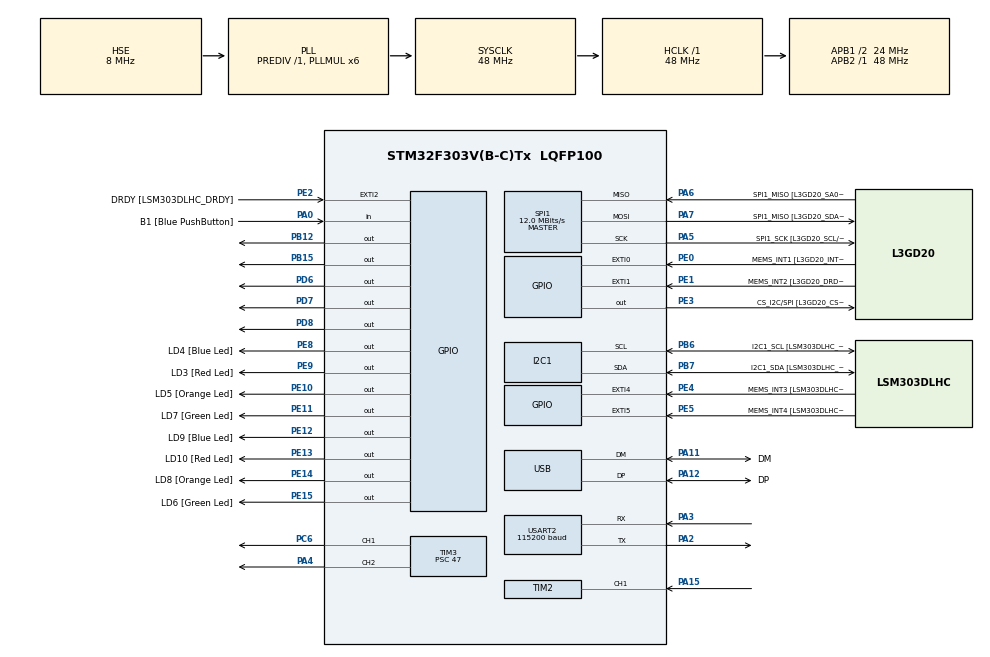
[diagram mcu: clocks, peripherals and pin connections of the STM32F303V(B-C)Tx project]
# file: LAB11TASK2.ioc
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I2C1.Timing=0x00201D2B
I2C1.Timing-I2C=0x2000090E
Mcu.Family=STM32F3
Mcu.Name=STM32F303V(B-C)Tx
Mcu.Package=LQFP100
NVIC.PriorityGroup=NVIC_PRIORITYGROUP_0
NVIC.TIM2_IRQn=true\:0\:0\:false\:false\:true\:true\:true\:true
PA0.GPIO_Label=B1 [Blue PushButton]
PA0.Signal=GPIO_Input
PA11.GPIO_Label=DM
PA11.Mode=Device
PA11.Signal=USB_DM
PA12.GPIO_Label=DP
PA12.Mode=Device
PA12.Signal=USB_DP
PA13.GPIO_Label=SWDIO
PA13.Mode=Serial_Wire
PA13.Signal=SYS_JTMS-SWDIO
PA14.GPIO_Label=SWCLK
PA14.Mode=Serial_Wire
PA14.Signal=SYS_JTCK-SWCLK
PA15.Signal=S_TIM2_CH1_ETR
PA2.Mode=Asynchronous
PA2.Signal=USART2_TX
PA3.Mode=Asynchronous
PA3.Signal=USART2_RX
PA4.Signal=S_TIM3_CH2
PA5.GPIO_Label=SPI1_SCK [L3GD20_SCL/SPC]
PA5.Mode=Full_Duplex_Master
PA5.Signal=SPI1_SCK
PA6.GPIO_Label=SPI1_MISO [L3GD20_SA0/SDO]
PA6.Mode=Full_Duplex_Master
PA6.Signal=SPI1_MISO
PA7.GPIO_Label=SPI1_MISO [L3GD20_SDA/SDI/SDO]
PA7.Mode=Full_Duplex_Master
PA7.Signal=SPI1_MOSI
PB12.Signal=GPIO_Output
PB15.Signal=GPIO_Output
PB3.GPIO_Label=SWO
PB3.Signal=SYS_JTDO-TRACESWO
PB6.GPIO_Label=I2C1_SCL [LSM303DLHC_SCL]
PB6.GPIO_Pu=GPIO_PULLUP
PB6.Mode=I2C
PB6.Signal=I2C1_SCL
PB7.GPIO_Label=I2C1_SDA [LSM303DLHC_SDA]
PB7.GPIO_Pu=GPIO_PULLUP
PB7.Mode=I2C
PB7.Signal=I2C1_SDA
PC14-OSC32_IN.GPIO_Label=OSC32_IN
PC14-OSC32_IN.Signal=RCC_OSC32_IN
PC15-OSC32_OUT.GPIO_Label=OSC32_OUT
PC15-OSC32_OUT.Signal=RCC_OSC32_OUT
PC6.Signal=S_TIM3_CH1
PD6.Signal=GPIO_Output
PD7.Signal=GPIO_Output
PD8.Signal=GPIO_Output
PE0.GPIO_Label=MEMS_INT1 [L3GD20_INT1]
PE0.GPIO_ModeDefaultEXTI=GPIO_MODE_EVT_RISING
PE0.Signal=GPXTI0
PE1.GPIO_Label=MEMS_INT2 [L3GD20_DRDY/INT2]
PE1.GPIO_ModeDefaultEXTI=GPIO_MODE_EVT_RISING
PE1.Signal=GPXTI1
PE10.GPIO_Label=LD5 [Orange Led]
PE10.Signal=GPIO_Output
PE11.GPIO_Label=LD7 [Green Led]
PE11.Signal=GPIO_Output
PE12.GPIO_Label=LD9 [Blue Led]
PE12.Signal=GPIO_Output
PE13.GPIO_Label=LD10 [Red Led]
PE13.Signal=GPIO_Output
PE14.GPIO_Label=LD8 [Orange Led]
PE14.Signal=GPIO_Output
PE15.GPIO_Label=LD6 [Green Led]
PE15.Signal=GPIO_Output
PE2.GPIO_Label=DRDY [LSM303DLHC_DRDY]
PE2.GPIO_ModeDefaultEXTI=GPIO_MODE_EVT_RISING
PE2.Signal=GPXTI2
PE3.GPIO_Label=CS_I2C/SPI [L3GD20_CS_I2C/SPI]
PE3.Signal=GPIO_Output
PE4.GPIO_Label=MEMS_INT3 [LSM303DLHC_INT1]
PE4.GPIO_ModeDefaultEXTI=GPIO_MODE_EVT_RISING
PE4.Signal=GPXTI4
PE5.GPIO_Label=MEMS_INT4 [LSM303DLHC_INT2]
PE5.GPIO_ModeDefaultEXTI=GPIO_MODE_EVT_RISING
PE5.Signal=GPXTI5
PE8.GPIO_Label=LD4 [Blue Led]
PE8.Signal=GPIO_Output
PE9.GPIO_Label=LD3 [Red Led]
PE9.Signal=GPIO_Output
PF0-OSC_IN.GPIO_Label=OSC_IN
PF0-OSC_IN.Mode=HSE-External-Clock-Source
PF0-OSC_IN.Signal=RCC_OSC_IN
PF1-OSC_OUT.GPIO_Label=OSC_OUT
PF1-OSC_OUT.Signal=RCC_OSC_OUT
ProjectManager.HeapSize=0x200
ProjectManager.StackSize=0x400
ProjectManager.TargetToolchain=CMake
RCC.AHBFreq_Value=48000000
RCC.APB1CLKDivider=RCC_HCLK_DIV2
RCC.APB1Freq_Value=24000000
RCC.APB1TimFreq_Value=48000000
RCC.APB2Freq_Value=48000000
RCC.APB2TimFreq_Value=48000000
RCC.CortexFreq_Value=48000000
RCC.HCLKFreq_Value=48000000
RCC.HSE_VALUE=8000000
RCC.HSI_VALUE=8000000
RCC.LSE_VALUE=32768
RCC.PLLMUL=RCC_PLL_MUL6
RCC.SYSCLKFreq_VALUE=48000000
RCC.SYSCLKSourceVirtual=RCC_SYSCLKSOURCE_PLLCLK
RCC.USBFreq_Value=48000000
SH.S_TIM2_CH1_ETR.0=TIM2_CH1,Input_Capture1_from_TI1
SH.S_TIM3_CH1.0=TIM3_CH1,PWM Generation1 CH1
SH.S_TIM3_CH2.0=TIM3_CH2,PWM Generation2 CH2
SPI1.BaudRatePrescaler=SPI_BAUDRATEPRESCALER_4
SPI1.BaudRatePrescaler-Full_Duplex_Master=SPI_BAUDRATEPRESCALER_2
SPI1.CalculateBaudRate=12.0 MBits/s
SPI1.CalculateBaudRate-Full_Duplex_Master=24.0 MBits/s
SPI1.Direction=SPI_DIRECTION_2LINES
SPI1.Mode=SPI_MODE_MASTER
SPI1.Mode-Full_Duplex_Master=SPI_MODE_MASTER
SPI1.VirtualType=VM_MASTER
TIM2.Channel-Input_Capture1_from_TI1=TIM_CHANNEL_1
TIM2.Period=999
TIM2.Prescaler=7199
TIM3.Channel-PWM\ Generation1\ CH1=TIM_CHANNEL_1
TIM3.Channel-PWM\ Generation2\ CH2=TIM_CHANNEL_2
TIM3.Period=999
TIM3.Prescaler=47
USART2.BaudRate=115200
USART2.VirtualMode-Asynchronous=VM_ASYNC
board=STM32F3DISCOVERY

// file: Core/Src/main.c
/* USER CODE BEGIN Header */
/**
  ******************************************************************************
  * @file           : main.c
  * @brief          : Main program body
  ******************************************************************************
  * @attention
  *
  * Copyright (c) 2026 STMicroelectronics.
  * All rights reserved.
  *
  * This software is licensed under terms that can be found in the LICENSE file
  * in the root directory of this software component.
  * If no LICENSE file comes with this software, it is provided AS-IS.
  *
  ******************************************************************************
  */
/* USER CODE END Header */
#include "main.h"
#include <math.h>
#include <stdio.h>
#include <string.h>

I2C_HandleTypeDef hi2c1;

SPI_HandleTypeDef hspi1;

TIM_HandleTypeDef htim2;
TIM_HandleTypeDef htim3;

UART_HandleTypeDef huart2;

PCD_HandleTypeDef hpcd_USB_FS;

/* USER CODE BEGIN PV */

#define CTRL_REG1      0x20
#define CTRL_REG1_VAL  0b10001111   // Power ON, enable X,Y,Z

#define CTRL_REG4      0x23
#define CTRL_REG4_VAL  0b00000000   // ±245 dps

#define OUT_TEMP       0x26

#define OUT_X_L        0x28
#define OUT_X_H        0x29
#define OUT_Y_L        0x2A
#define OUT_Y_H        0x2B
#define OUT_Z_L        0x2C
#define OUT_Z_H        0x2D

typedef struct {
float accX;
float accY;
float accZ;

float gyroX;
float gyroY;
float gyroZ;

float roll;
float pitch;
} LSM_Offset_t;
LSM_Offset_t lsmOffset;

int16_t acc_rawX, acc_rawY, acc_rawZ;
float accX, accY, accZ;
float offsetAccX = 0;
float offsetAccY = 0;
float offsetAccZ = 0;
float offsetGyroX = 0;
float offsetGyroY = 0;
float offsetGyroZ = 0;
uint8_t gyroX, gyroY, gyroZ;

float roll_deg = 0;
float pitch_deg = 0;

float offsetRoll = 0;

float angle = 0.0f;

// Sampling interval for 100 Hz
float dt = 0.005f;

// Interrupt flag
volatile uint8_t imu_flag = 0;

// PID variables
float Kp = 20.0f;
float Ki = 2.0f;
float Kd = 1.0f;

float setpoint = 0.0f;
float error = 0, prev_error = 0;
float integral = 0, derivative = 0;
float control = 0;
/* USER CODE END PV */

void SystemClock_Config(void);
static void MX_GPIO_Init(void);
static void MX_I2C1_Init(void);
static void MX_SPI1_Init(void);
static void MX_TIM2_Init(void);
static void MX_TIM3_Init(void);
static void MX_USART2_UART_Init(void);
static void MX_USB_PCD_Init(void);

/* USER CODE BEGIN 0 */

void Init_LSM(void)
{
  uint8_t data;

  // Example: Accelerometer CTRL_REG1_A = 0x20
  data = 0x67; // 100 Hz, all axes enabled
  HAL_I2C_Mem_Write(&hi2c1, 0x33, 0x20, I2C_MEMADD_SIZE_8BIT, &data, 1, HAL_MAX_DELAY);

  data = 0x00; // Example: CTRL_REG4_A = 0x23
  HAL_I2C_Mem_Write(&hi2c1, 0x33, 0x23, I2C_MEMADD_SIZE_8BIT, &data, 1, HAL_MAX_DELAY);
}

void Read_LSM(void)
{
    uint8_t data[6];

    // Read 6 bytes from OUT_X_L_A (with auto-increment)
    HAL_I2C_Mem_Read(&hi2c1, 0x33, 0x28 | 0x80,
                     I2C_MEMADD_SIZE_8BIT, data, 6, HAL_MAX_DELAY);

    int16_t x_raw = (int16_t)((data[1] << 8) | data[0]);
    int16_t y_raw = (int16_t)((data[3] << 8) | data[2]);
    int16_t z_raw = (int16_t)((data[5] << 8) | data[4]);

    // Convert to g (3.9 mg/LSB)
    // accX = x_raw * 3.9f / 1000.0f;
    // accY = y_raw * 3.9f / 1000.0f;
    // accZ = z_raw * 3.9f / 1000.0f;
  accX = (x_raw-lsmOffset.accX) * 3.9f / 1000.0f;
  accY = (y_raw-lsmOffset.accY) * 3.9f / 1000.0f;
  accZ = (z_raw-lsmOffset.accZ) * 3.9f / 1000.0f;

    // Roll angle (degrees)
    roll_deg = atan2f(accX, accZ) * 57.2958f;
    //  float accX_corr = accX - lsmOffset.accX;
    //  float accZ_corr = accZ - lsmOffset.accZ;

    //  roll_deg = atan2f(accX_corr, accZ_corr) * 57.2958f;
}
void gyro_write(uint8_t reg, uint8_t value)
{
  uint8_t tx[2] = {reg, value};

  HAL_GPIO_WritePin(GPIOE, GPIO_PIN_3, GPIO_PIN_RESET);   // CS LOW
  HAL_SPI_Transmit(&hspi1, tx, 2, HAL_MAX_DELAY);
  HAL_GPIO_WritePin(GPIOE, GPIO_PIN_3, GPIO_PIN_SET);     // CS HIGH
}

void gyro_init()
{
  gyro_write(CTRL_REG1, CTRL_REG1_VAL);
  gyro_write(CTRL_REG4, CTRL_REG4_VAL);
}
uint8_t gyro_read(uint8_t reg)
{
  uint8_t tx = reg | 0x80;  // Read bit = 1
  uint8_t rx;

  HAL_GPIO_WritePin(GPIOE, GPIO_PIN_3, GPIO_PIN_RESET);  // CS LOW
  HAL_SPI_Transmit(&hspi1, &tx, 1, HAL_MAX_DELAY);
  HAL_SPI_Receive(&hspi1, &rx, 1, HAL_MAX_DELAY);
  HAL_GPIO_WritePin(GPIOE, GPIO_PIN_3, GPIO_PIN_SET);    // CS HIGH

  return rx;
}
// void gyro_calibrate()
// {
//     int32_t sum = 0;
//     for(int i=0; i<500; i++)
//     {
//         sum += gyro_read(0x28); // X-axis
//         HAL_Delay(2);             // Small delay between reads
//     }
//     offsetGyroX = sum / 500.0f * 0.00875f; // Convert to °/s
// }
void OffsetLSM(void)
{

    float sumAccX = 0, sumAccY = 0, sumAccZ = 0;
    float sumGyroX = 0, sumGyroY = 0, sumGyroZ = 0;
    int samples = 60;

    for(int i = 0; i < samples; i++)
    {
        // Read raw accelerometer
        uint8_t data[6];
        HAL_I2C_Mem_Read(&hi2c1, 0x33, 0x28 | 0x80, I2C_MEMADD_SIZE_8BIT, data, 6, HAL_MAX_DELAY);
        int16_t rawX = (int16_t)((data[1] << 8) | data[0]);
        int16_t rawY = (int16_t)((data[3] << 8) | data[2]);
        int16_t rawZ = (int16_t)((data[5] << 8) | data[4]);

        sumAccX += rawX * 3.9f / 1000.0f;
        sumAccY += rawY * 3.9f / 1000.0f;
        sumAccZ += rawZ * 3.9f / 1000.0f;

        // Read raw gyro
        int16_t gx_raw = (int16_t)((gyro_read(OUT_X_H) << 8) | gyro_read(OUT_X_L));
        int16_t gy_raw = (int16_t)((gyro_read(OUT_Y_H) << 8) | gyro_read(OUT_Y_L));
        int16_t gz_raw = (int16_t)((gyro_read(OUT_Z_H) << 8) | gyro_read(OUT_Z_L));

        sumGyroX += gx_raw * 0.00875f;
        sumGyroY += gy_raw * 0.00875f;
        sumGyroZ += gz_raw * 0.00875f;

        HAL_Delay(50);
    }

    // Store averages in struct

    lsmOffset.accX = sumAccX / samples;
    lsmOffset.accY = sumAccY / samples;
    //lsmOffset.accZ = sumAccZ / samples;
    lsmOffset.accZ = (sumAccZ / samples);

    lsmOffset.gyroX = sumGyroX / samples;
    lsmOffset.gyroY = sumGyroY / samples;
    lsmOffset.gyroZ = sumGyroZ / samples;
}

void HAL_TIM_PeriodElapsedCallback(TIM_HandleTypeDef *htim)
{
    if(htim->Instance == TIM2)
    {
        imu_flag = 1;

        // ---- Read sensors ----
        Read_LSM();

        int16_t gx_raw = (int16_t)((gyro_read(0x29) << 8) | gyro_read(0x28));
        float gx = (gx_raw * 0.00875f) - lsmOffset.gyroX;

        // ---- Complementary filter ----
        angle = 0.98f * (angle + gx * dt) + 0.02f * roll_deg;

        // ---- PID ----
        error = setpoint - angle;
        integral += error * dt;
        derivative = (error - prev_error) / dt;

        control = Kp*error + Ki*integral + Kd*derivative;

        prev_error = error;

        // ---- MOTOR CONTROL ----
        if(control > 0) // forward
        {
            HAL_GPIO_WritePin(GPIOB, GPIO_PIN_12, 1);
            HAL_GPIO_WritePin(GPIOD, GPIO_PIN_8, 0);

            HAL_GPIO_WritePin(GPIOD, GPIO_PIN_6, 1);
            HAL_GPIO_WritePin(GPIOD, GPIO_PIN_7, 0);
        }
        else // reverse
        {
            HAL_GPIO_WritePin(GPIOB, GPIO_PIN_12, 0);
            HAL_GPIO_WritePin(GPIOD, GPIO_PIN_8, 1);

            HAL_GPIO_WritePin(GPIOD, GPIO_PIN_6, 0);
            HAL_GPIO_WritePin(GPIOD, GPIO_PIN_7, 1);
        }

        // PWM magnitude (ABS)
        int pwm = (int)fabs(control);
        if(pwm > 999) pwm = 999;

        __HAL_TIM_SET_COMPARE(&htim3, TIM_CHANNEL_1, pwm);
        __HAL_TIM_SET_COMPARE(&htim3, TIM_CHANNEL_2, pwm);
    }
}
/* USER CODE END 0 */

int main(void)
{

  /* MCU Configuration--------------------------------------------------------*/

  /* Reset of all peripherals, Initializes the Flash interface and the Systick. */
  HAL_Init();

  /* Configure the system clock */
  SystemClock_Config();

  /* Initialize all configured peripherals */
  MX_GPIO_Init();
  MX_I2C1_Init();
  MX_SPI1_Init();
  MX_TIM2_Init();
  MX_TIM3_Init();
  MX_USART2_UART_Init();
  MX_USB_PCD_Init();
  /* USER CODE BEGIN 2 */

  Init_LSM();
  gyro_init();
  OffsetLSM();

  HAL_TIM_Base_Start_IT(&htim2);     // 100 Hz loop
  HAL_TIM_PWM_Start(&htim3, TIM_CHANNEL_1);
  HAL_TIM_PWM_Start(&htim3, TIM_CHANNEL_2);

  /* USER CODE END 2 */

  /* Infinite loop */
  while (1)
  {
    if (imu_flag)
    {
      imu_flag = 0;

      char buffer[50];
      sprintf(buffer, "%0.2f,%0.2f\r\n", angle, control);
      HAL_UART_Transmit(&huart2, (uint8_t*)buffer, strlen(buffer), HAL_MAX_DELAY);
    }
  }
}

void SystemClock_Config(void)
{
  RCC_OscInitTypeDef RCC_OscInitStruct = {0};
  RCC_ClkInitTypeDef RCC_ClkInitStruct = {0};
  RCC_PeriphCLKInitTypeDef PeriphClkInit = {0};

  /** Initializes the RCC Oscillators according to the specified parameters
  * in the RCC_OscInitTypeDef structure.
  */
  RCC_OscInitStruct.OscillatorType = RCC_OSCILLATORTYPE_HSI|RCC_OSCILLATORTYPE_HSE;
  RCC_OscInitStruct.HSEState = RCC_HSE_BYPASS;
  RCC_OscInitStruct.HSEPredivValue = RCC_HSE_PREDIV_DIV1;
  RCC_OscInitStruct.HSIState = RCC_HSI_ON;
  RCC_OscInitStruct.HSICalibrationValue = RCC_HSICALIBRATION_DEFAULT;
  RCC_OscInitStruct.PLL.PLLState = RCC_PLL_ON;
  RCC_OscInitStruct.PLL.PLLSource = RCC_PLLSOURCE_HSE;
  RCC_OscInitStruct.PLL.PLLMUL = RCC_PLL_MUL6;
  if (HAL_RCC_OscConfig(&RCC_OscInitStruct) != HAL_OK)
  {
    Error_Handler();
  }

  /** Initializes the CPU, AHB and APB buses clocks
  */
  RCC_ClkInitStruct.ClockType = RCC_CLOCKTYPE_HCLK|RCC_CLOCKTYPE_SYSCLK
                              |RCC_CLOCKTYPE_PCLK1|RCC_CLOCKTYPE_PCLK2;
  RCC_ClkInitStruct.SYSCLKSource = RCC_SYSCLKSOURCE_PLLCLK;
  RCC_ClkInitStruct.AHBCLKDivider = RCC_SYSCLK_DIV1;
  RCC_ClkInitStruct.APB1CLKDivider = RCC_HCLK_DIV2;
  RCC_ClkInitStruct.APB2CLKDivider = RCC_HCLK_DIV1;

  if (HAL_RCC_ClockConfig(&RCC_ClkInitStruct, FLASH_LATENCY_1) != HAL_OK)
  {
    Error_Handler();
  }
  PeriphClkInit.PeriphClockSelection = RCC_PERIPHCLK_USB|RCC_PERIPHCLK_USART2
                              |RCC_PERIPHCLK_I2C1;
  PeriphClkInit.Usart2ClockSelection = RCC_USART2CLKSOURCE_PCLK1;
  PeriphClkInit.I2c1ClockSelection = RCC_I2C1CLKSOURCE_HSI;
  PeriphClkInit.USBClockSelection = RCC_USBCLKSOURCE_PLL;
  if (HAL_RCCEx_PeriphCLKConfig(&PeriphClkInit) != HAL_OK)
  {
    Error_Handler();
  }
}

static void MX_I2C1_Init(void)
{

  hi2c1.Instance = I2C1;
  hi2c1.Init.Timing = 0x00201D2B;
  hi2c1.Init.OwnAddress1 = 0;
  hi2c1.Init.AddressingMode = I2C_ADDRESSINGMODE_7BIT;
  hi2c1.Init.DualAddressMode = I2C_DUALADDRESS_DISABLE;
  hi2c1.Init.OwnAddress2 = 0;
  hi2c1.Init.OwnAddress2Masks = I2C_OA2_NOMASK;
  hi2c1.Init.GeneralCallMode = I2C_GENERALCALL_DISABLE;
  hi2c1.Init.NoStretchMode = I2C_NOSTRETCH_DISABLE;
  if (HAL_I2C_Init(&hi2c1) != HAL_OK)
  {
    Error_Handler();
  }

  /** Configure Analogue filter
  */
  if (HAL_I2CEx_ConfigAnalogFilter(&hi2c1, I2C_ANALOGFILTER_ENABLE) != HAL_OK)
  {
    Error_Handler();
  }

  /** Configure Digital filter
  */
  if (HAL_I2CEx_ConfigDigitalFilter(&hi2c1, 0) != HAL_OK)
  {
    Error_Handler();
  }

}

static void MX_SPI1_Init(void)
{

  /* SPI1 parameter configuration*/
  hspi1.Instance = SPI1;
  hspi1.Init.Mode = SPI_MODE_MASTER;
  hspi1.Init.Direction = SPI_DIRECTION_2LINES;
  hspi1.Init.DataSize = SPI_DATASIZE_4BIT;
  hspi1.Init.CLKPolarity = SPI_POLARITY_LOW;
  hspi1.Init.CLKPhase = SPI_PHASE_1EDGE;
  hspi1.Init.NSS = SPI_NSS_SOFT;
  hspi1.Init.BaudRatePrescaler = SPI_BAUDRATEPRESCALER_4;
  hspi1.Init.FirstBit = SPI_FIRSTBIT_MSB;
  hspi1.Init.TIMode = SPI_TIMODE_DISABLE;
  hspi1.Init.CRCCalculation = SPI_CRCCALCULATION_DISABLE;
  hspi1.Init.CRCPolynomial = 7;
  hspi1.Init.CRCLength = SPI_CRC_LENGTH_DATASIZE;
  hspi1.Init.NSSPMode = SPI_NSS_PULSE_ENABLE;
  if (HAL_SPI_Init(&hspi1) != HAL_OK)
  {
    Error_Handler();
  }

}

static void MX_TIM2_Init(void)
{

  TIM_MasterConfigTypeDef sMasterConfig = {0};
  TIM_IC_InitTypeDef sConfigIC = {0};

  htim2.Instance = TIM2;
  htim2.Init.Prescaler = 7199;
  htim2.Init.CounterMode = TIM_COUNTERMODE_UP;
  htim2.Init.Period = 999;
  htim2.Init.ClockDivision = TIM_CLOCKDIVISION_DIV1;
  htim2.Init.AutoReloadPreload = TIM_AUTORELOAD_PRELOAD_DISABLE;
  if (HAL_TIM_IC_Init(&htim2) != HAL_OK)
  {
    Error_Handler();
  }
  sMasterConfig.MasterOutputTrigger = TIM_TRGO_RESET;
  sMasterConfig.MasterSlaveMode = TIM_MASTERSLAVEMODE_DISABLE;
  if (HAL_TIMEx_MasterConfigSynchronization(&htim2, &sMasterConfig) != HAL_OK)
  {
    Error_Handler();
  }
  sConfigIC.ICPolarity = TIM_INPUTCHANNELPOLARITY_RISING;
  sConfigIC.ICSelection = TIM_ICSELECTION_DIRECTTI;
  sConfigIC.ICPrescaler = TIM_ICPSC_DIV1;
  sConfigIC.ICFilter = 0;
  if (HAL_TIM_IC_ConfigChannel(&htim2, &sConfigIC, TIM_CHANNEL_1) != HAL_OK)
  {
    Error_Handler();
  }

}

static void MX_TIM3_Init(void)
{

  TIM_MasterConfigTypeDef sMasterConfig = {0};
  TIM_OC_InitTypeDef sConfigOC = {0};

  htim3.Instance = TIM3;
  htim3.Init.Prescaler = 47;
  htim3.Init.CounterMode = TIM_COUNTERMODE_UP;
  htim3.Init.Period = 999;
  htim3.Init.ClockDivision = TIM_CLOCKDIVISION_DIV1;
  htim3.Init.AutoReloadPreload = TIM_AUTORELOAD_PRELOAD_DISABLE;
  if (HAL_TIM_PWM_Init(&htim3) != HAL_OK)
  {
    Error_Handler();
  }
  sMasterConfig.MasterOutputTrigger = TIM_TRGO_RESET;
  sMasterConfig.MasterSlaveMode = TIM_MASTERSLAVEMODE_DISABLE;
  if (HAL_TIMEx_MasterConfigSynchronization(&htim3, &sMasterConfig) != HAL_OK)
  {
    Error_Handler();
  }
  sConfigOC.OCMode = TIM_OCMODE_PWM1;
  sConfigOC.Pulse = 0;
  sConfigOC.OCPolarity = TIM_OCPOLARITY_HIGH;
  sConfigOC.OCFastMode = TIM_OCFAST_DISABLE;
  if (HAL_TIM_PWM_ConfigChannel(&htim3, &sConfigOC, TIM_CHANNEL_1) != HAL_OK)
  {
    Error_Handler();
  }
  if (HAL_TIM_PWM_ConfigChannel(&htim3, &sConfigOC, TIM_CHANNEL_2) != HAL_OK)
  {
    Error_Handler();
  }
  HAL_TIM_MspPostInit(&htim3);

}

static void MX_USART2_UART_Init(void)
{

  huart2.Instance = USART2;
  huart2.Init.BaudRate = 115200;
  huart2.Init.WordLength = UART_WORDLENGTH_8B;
  huart2.Init.StopBits = UART_STOPBITS_1;
  huart2.Init.Parity = UART_PARITY_NONE;
  huart2.Init.Mode = UART_MODE_TX_RX;
  huart2.Init.HwFlowCtl = UART_HWCONTROL_NONE;
  huart2.Init.OverSampling = UART_OVERSAMPLING_16;
  huart2.Init.OneBitSampling = UART_ONE_BIT_SAMPLE_DISABLE;
  huart2.AdvancedInit.AdvFeatureInit = UART_ADVFEATURE_NO_INIT;
  if (HAL_UART_Init(&huart2) != HAL_OK)
  {
    Error_Handler();
  }

}

static void MX_USB_PCD_Init(void)
{

  hpcd_USB_FS.Instance = USB;
  hpcd_USB_FS.Init.dev_endpoints = 8;
  hpcd_USB_FS.Init.speed = PCD_SPEED_FULL;
  hpcd_USB_FS.Init.phy_itface = PCD_PHY_EMBEDDED;
  hpcd_USB_FS.Init.low_power_enable = DISABLE;
  hpcd_USB_FS.Init.battery_charging_enable = DISABLE;
  if (HAL_PCD_Init(&hpcd_USB_FS) != HAL_OK)
  {
    Error_Handler();
  }

}

static void MX_GPIO_Init(void)
{
  GPIO_InitTypeDef GPIO_InitStruct = {0};

  /* GPIO Ports Clock Enable */
  __HAL_RCC_GPIOE_CLK_ENABLE();
  __HAL_RCC_GPIOC_CLK_ENABLE();
  __HAL_RCC_GPIOF_CLK_ENABLE();
  __HAL_RCC_GPIOA_CLK_ENABLE();
  __HAL_RCC_GPIOB_CLK_ENABLE();
  __HAL_RCC_GPIOD_CLK_ENABLE();

  /*Configure GPIO pin Output Level */
  HAL_GPIO_WritePin(GPIOE, CS_I2C_SPI_Pin|LD4_Pin|LD3_Pin|LD5_Pin
                          |LD7_Pin|LD9_Pin|LD10_Pin|LD8_Pin
                          |LD6_Pin, GPIO_PIN_RESET);

  /*Configure GPIO pin Output Level */
  HAL_GPIO_WritePin(GPIOB, GPIO_PIN_12|GPIO_PIN_15, GPIO_PIN_RESET);

  /*Configure GPIO pin Output Level */
  HAL_GPIO_WritePin(GPIOD, GPIO_PIN_8|GPIO_PIN_6|GPIO_PIN_7, GPIO_PIN_RESET);

  /*Configure GPIO pins : DRDY_Pin MEMS_INT3_Pin MEMS_INT4_Pin MEMS_INT1_Pin
                           MEMS_INT2_Pin */
  GPIO_InitStruct.Pin = DRDY_Pin|MEMS_INT3_Pin|MEMS_INT4_Pin|MEMS_INT1_Pin
                          |MEMS_INT2_Pin;
  GPIO_InitStruct.Mode = GPIO_MODE_EVT_RISING;
  GPIO_InitStruct.Pull = GPIO_NOPULL;
  HAL_GPIO_Init(GPIOE, &GPIO_InitStruct);

  /*Configure GPIO pins : CS_I2C_SPI_Pin LD4_Pin LD3_Pin LD5_Pin
                           LD7_Pin LD9_Pin LD10_Pin LD8_Pin
                           LD6_Pin */
  GPIO_InitStruct.Pin = CS_I2C_SPI_Pin|LD4_Pin|LD3_Pin|LD5_Pin
                          |LD7_Pin|LD9_Pin|LD10_Pin|LD8_Pin
                          |LD6_Pin;
  GPIO_InitStruct.Mode = GPIO_MODE_OUTPUT_PP;
  GPIO_InitStruct.Pull = GPIO_NOPULL;
  GPIO_InitStruct.Speed = GPIO_SPEED_FREQ_LOW;
  HAL_GPIO_Init(GPIOE, &GPIO_InitStruct);

  /*Configure GPIO pin : B1_Pin */
  GPIO_InitStruct.Pin = B1_Pin;
  GPIO_InitStruct.Mode = GPIO_MODE_INPUT;
  GPIO_InitStruct.Pull = GPIO_NOPULL;
  HAL_GPIO_Init(B1_GPIO_Port, &GPIO_InitStruct);

  /*Configure GPIO pins : PB12 PB15 */
  GPIO_InitStruct.Pin = GPIO_PIN_12|GPIO_PIN_15;
  GPIO_InitStruct.Mode = GPIO_MODE_OUTPUT_PP;
  GPIO_InitStruct.Pull = GPIO_NOPULL;
  GPIO_InitStruct.Speed = GPIO_SPEED_FREQ_LOW;
  HAL_GPIO_Init(GPIOB, &GPIO_InitStruct);

  /*Configure GPIO pins : PD8 PD6 PD7 */
  GPIO_InitStruct.Pin = GPIO_PIN_8|GPIO_PIN_6|GPIO_PIN_7;
  GPIO_InitStruct.Mode = GPIO_MODE_OUTPUT_PP;
  GPIO_InitStruct.Pull = GPIO_NOPULL;
  GPIO_InitStruct.Speed = GPIO_SPEED_FREQ_LOW;
  HAL_GPIO_Init(GPIOD, &GPIO_InitStruct);

}

void Error_Handler(void)
{
  __disable_irq();
  while (1)
  {
  }
}
